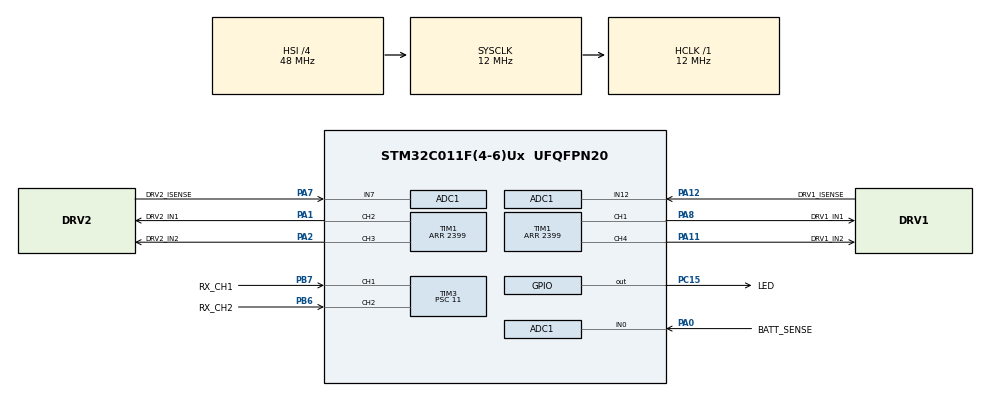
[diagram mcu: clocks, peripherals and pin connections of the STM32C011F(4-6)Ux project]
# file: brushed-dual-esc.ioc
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ADC1.ContinuousConvMode=ENABLE
ADC1.DMAContinuousRequests=ENABLE
ADC1.NbrOfConversionFlag=0
ADC1.Overrun=ADC_OVR_DATA_OVERWRITTEN
ADC1.SamplingTimeCommon1=ADC_SAMPLETIME_160CYCLES_5
ADC1.SelectedChannel=ADC_CHANNEL_0|ADC_CHANNEL_7|ADC_CHANNEL_12
ADC1.master=1
Dma.ADC1.0.Direction=DMA_PERIPH_TO_MEMORY
Dma.ADC1.0.EventEnable=DISABLE
Dma.ADC1.0.Instance=DMA1_Channel1
Dma.ADC1.0.MemDataAlignment=DMA_MDATAALIGN_WORD
Dma.ADC1.0.MemInc=DMA_MINC_ENABLE
Dma.ADC1.0.Mode=DMA_CIRCULAR
Dma.ADC1.0.PeriphDataAlignment=DMA_PDATAALIGN_WORD
Dma.ADC1.0.PeriphInc=DMA_PINC_DISABLE
Dma.ADC1.0.Polarity=HAL_DMAMUX_REQ_GEN_RISING
Dma.ADC1.0.Priority=DMA_PRIORITY_LOW
Dma.ADC1.0.RequestNumber=1
Dma.ADC1.0.SignalID=NONE
Dma.ADC1.0.SyncEnable=DISABLE
Dma.ADC1.0.SyncPolarity=HAL_DMAMUX_SYNC_NO_EVENT
Dma.ADC1.0.SyncRequestNumber=1
Dma.ADC1.0.SyncSignalID=NONE
Dma.Request0=ADC1
Mcu.Family=STM32C0
Mcu.Name=STM32C011F(4-6)Ux
Mcu.Package=UFQFPN20
NVIC.DMA1_Channel1_IRQn=true\:0\:0\:false\:false\:true\:false\:true\:true
NVIC.TIM3_IRQn=true\:0\:0\:false\:false\:true\:true\:true\:true
PA0.GPIO_Label=BATT_SENSE
PA0.GPIO_Mode=GPIO_MODE_ANALOG
PA0.GPIO_PuPd=GPIO_NOPULL
PA0.Mode=IN0
PA0.Signal=ADC1_IN0
PA1.GPIO_Label=DRV2_IN1
PA1.GPIO_PuPd=GPIO_PULLDOWN
PA1.Signal=S_TIM1_CH2
PA11\ [PA9].GPIO_Label=DRV1_IN2
PA11\ [PA9].GPIO_PuPd=GPIO_PULLDOWN
PA11\ [PA9].Signal=S_TIM1_CH4
PA12\ [PA10].GPIO_Label=DRV1_ISENSE
PA12\ [PA10].GPIO_Mode=GPIO_MODE_ANALOG
PA12\ [PA10].GPIO_PuPd=GPIO_NOPULL
PA12\ [PA10].Mode=IN12
PA12\ [PA10].Signal=ADC1_IN12
PA13.Mode=Serial_Wire
PA13.Signal=DEBUG_SWDIO
PA14-BOOT0.Mode=Serial_Wire
PA14-BOOT0.Signal=DEBUG_SWCLK
PA2.GPIO_Label=DRV2_IN2
PA2.GPIO_PuPd=GPIO_PULLDOWN
PA2.Signal=S_TIM1_CH3
PA7.GPIO_Label=DRV2_ISENSE
PA7.GPIO_Mode=GPIO_MODE_ANALOG
PA7.GPIO_PuPd=GPIO_NOPULL
PA7.Mode=IN7
PA7.Signal=ADC1_IN7
PA8.GPIO_Label=DRV1_IN1
PA8.GPIO_PuPd=GPIO_PULLDOWN
PA8.Signal=S_TIM1_CH1
PB6.GPIO_Label=RX_CH2
PB6.GPIO_PuPd=GPIO_PULLDOWN
PB6.Signal=S_TIM3_CH2
PB7.GPIO_Label=RX_CH1
PB7.GPIO_PuPd=GPIO_PULLDOWN
PB7.Signal=S_TIM3_CH1
PC15-OSCX_OUT\ (PC15).GPIO_Label=LED
PC15-OSCX_OUT\ (PC15).Signal=GPIO_Output
ProjectManager.HeapSize=0x200
ProjectManager.StackSize=0x400
ProjectManager.TargetToolchain=STM32CubeIDE
RCC.ADCFreq_Value=12000000
RCC.AHBFreq_Value=12000000
RCC.CortexFreq_Value=12000000
RCC.EXTERNAL_CLOCK_VALUE=12288000
RCC.HCLKFreq_Value=12000000
RCC.HSE_VALUE=8000000
RCC.HSI_VALUE=48000000
RCC.LSE_VALUE=32768
RCC.SYSCLKFreq_VALUE=12000000
SH.S_TIM1_CH1.0=TIM1_CH1,PWM Generation1 CH1
SH.S_TIM1_CH2.0=TIM1_CH2,PWM Generation2 CH2
SH.S_TIM1_CH3.0=TIM1_CH3,PWM Generation3 CH3
SH.S_TIM1_CH4.0=TIM1_CH4,PWM Generation4 CH4
SH.S_TIM3_CH1.0=TIM3_CH1,Input_Capture1_from_TI1
SH.S_TIM3_CH2.0=TIM3_CH2,Input_Capture2_from_TI2
TIM1.AutoReloadPreload=TIM_AUTORELOAD_PRELOAD_ENABLE
TIM1.Channel-PWM\ Generation1\ CH1=TIM_CHANNEL_1
TIM1.Channel-PWM\ Generation2\ CH2=TIM_CHANNEL_2
TIM1.Channel-PWM\ Generation3\ CH3=TIM_CHANNEL_3
TIM1.Channel-PWM\ Generation4\ CH4=TIM_CHANNEL_4
TIM1.Period=2399
TIM3.Channel-Input_Capture1_from_TI1=TIM_CHANNEL_1
TIM3.Channel-Input_Capture2_from_TI2=TIM_CHANNEL_2
TIM3.ICFilter_CH1=15
TIM3.ICFilter_CH2=15
TIM3.Prescaler=11
VP_TIM1_VS_ClockSourceINT.Mode=Internal
VP_TIM3_VS_ClockSourceINT.Mode=Internal
board=custom

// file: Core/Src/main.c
/* USER CODE BEGIN Header */
/**
  ******************************************************************************
  * @file           : main.c
  * @brief          : Main program body
  ******************************************************************************
  * @attention
  *
  * Copyright (c) 2026 STMicroelectronics.
  * All rights reserved.
  *
  * This software is licensed under terms that can be found in the LICENSE file
  * in the root directory of this software component.
  * If no LICENSE file comes with this software, it is provided AS-IS.
  *
  ******************************************************************************
  */
/* USER CODE END Header */
#include "main.h"

/* USER CODE BEGIN PD */
// Failsafe configuration
#define PULSE_TIMEOUT_MS 100 // 100 ms at 50 Hz is 5 missed pulses I think

// UVLO configuration
// Calculate this yourself:
// 1. Multiply min cell voltage by number of cells to get min battery voltage
// 		v_batt_min = v_cell_min * batt_s
// 2. Calculate voltage divider gain based on R1 and R2 in https://www.digikey.com/en/resources/conversion-calculators/conversion-calculator-voltage-divider
// 		divider_gain = r2 / (r1 + r2)
// 3. Calculate min divided voltage (input to ADC pin)
// 		v_divided_min = v_batt_min * divider_gain
// 4. Calculate min ADC counts (here we assume 12 bit ADC, so (2^12)-1=4095 max counts at VREF, which we assume is 3.3V)
// 		MIN_BATT_ADC = (v_divided_min / 3.3) * 4095
// 5. Round it to the nearest whole number and enter below
#define MIN_BATT_ADC 2597 // 3V/cell

// pulse limits; discard invalid pulses beyond this
// based on FS-2A 1000-2000us
#define PULSE_INVALID_MIN 800 // [us]
#define PULSE_INVALID_MAX 2200 // [us]
/* USER CODE END PD */

ADC_HandleTypeDef hadc1;
DMA_HandleTypeDef hdma_adc1;

TIM_HandleTypeDef htim1;
TIM_HandleTypeDef htim3;

/* USER CODE BEGIN PV */
// RX_CH1 = TIM3_CH1 -> DRV1
volatile uint32_t IC_Val1_CH1 = 0;
volatile uint32_t IC_Val2_CH1 = 0;
volatile uint32_t Pulse_Width_CH1 = 1500; // default to neutral
volatile uint8_t Is_First_Captured_CH1 = 0; // 0 = waiting for rising, 1 = waiting for falling
volatile uint32_t last_pulse_time_ch1 = 0; // For failsafe

// RX_CH2 = TIM3_CH2 -> DRV2
volatile uint32_t IC_Val1_CH2 = 0;
volatile uint32_t IC_Val2_CH2 = 0;
volatile uint32_t Pulse_Width_CH2 = 1500; // default to neutral
volatile uint8_t Is_First_Captured_CH2 = 0; // 0 = waiting for rising, 1 = waiting for falling
volatile uint32_t last_pulse_time_ch2 = 0; // For failsafe

volatile uint32_t now;
uint32_t pulse1, pulse2;
uint32_t last_seen1, last_seen2;
uint8_t error;
uint8_t batt_cutoff;
volatile uint32_t batt_sense = 69;
volatile uint32_t adc_buf[3]; // BATT_SENSE, DRV2_ISENSE, DRV1_ISENSE
/* USER CODE END PV */

void SystemClock_Config(void);
static void MX_GPIO_Init(void);
static void MX_DMA_Init(void);
static void MX_ADC1_Init(void);
static void MX_TIM1_Init(void);
static void MX_TIM3_Init(void);
/* USER CODE BEGIN PFP */
void set_motor_speed(uint32_t pulse, uint32_t tim_channel_in1, uint32_t tim_channel_in2);
/* USER CODE END PFP */

int main(void)
{

  /* MCU Configuration--------------------------------------------------------*/

  /* Reset of all peripherals, Initializes the Flash interface and the Systick. */
  HAL_Init();

  /* Configure the system clock */
  SystemClock_Config();

  /* Initialize all configured peripherals */
  MX_GPIO_Init();
  MX_DMA_Init();
  MX_ADC1_Init();
  MX_TIM1_Init();
  MX_TIM3_Init();
  /* USER CODE BEGIN 2 */

	HAL_GPIO_WritePin(LED_GPIO_Port, LED_Pin, 0); // indicate boot by flashing LED 1 on

	// start PWM outputs for DRV1
	HAL_TIM_PWM_Start(&htim1, TIM_CHANNEL_1);
	HAL_TIM_PWM_Start(&htim1, TIM_CHANNEL_4);

	// start PWM outputs for DRV2
	HAL_TIM_PWM_Start(&htim1, TIM_CHANNEL_2);
	HAL_TIM_PWM_Start(&htim1, TIM_CHANNEL_3);

	// set all drives to coast
	__HAL_TIM_SET_COMPARE(&htim1, TIM_CHANNEL_1, 0);
	__HAL_TIM_SET_COMPARE(&htim1, TIM_CHANNEL_2, 0);
	__HAL_TIM_SET_COMPARE(&htim1, TIM_CHANNEL_3, 0);
	__HAL_TIM_SET_COMPARE(&htim1, TIM_CHANNEL_4, 0);

	// start input capture interrupts for RX
	HAL_TIM_IC_Start_IT(&htim3, TIM_CHANNEL_1);
	HAL_TIM_IC_Start_IT(&htim3, TIM_CHANNEL_2);

	// start ADC in continuous DMA mode
	HAL_ADCEx_Calibration_Start(&hadc1);
	HAL_ADC_Start_DMA(&hadc1, (uint32_t*)adc_buf, 3);

	// init failsafe
	now = HAL_GetTick();
	last_pulse_time_ch1 = now;
	last_pulse_time_ch2 = now;
	error = 0;
	batt_cutoff = 0;

	// Turn off LED to indicate success
	HAL_GPIO_WritePin(LED_GPIO_Port, LED_Pin, 1); // turn off LED to indicate etup success

  /* USER CODE END 2 */

  /* Infinite loop */
  while (1)
  {

    /* USER CODE BEGIN 3 */
	now = HAL_GetTick();
	error = 0;

	// UVLO
	batt_sense = adc_buf[0];
	// drv2_isense = adc_buf[1];
	// drv1_isense = adc_buf[2];

	if (batt_sense < MIN_BATT_ADC) {
		batt_cutoff = 1;
		error = 1;
	} else {
		batt_cutoff = 0;
	}

	// Atomically get the latest pulse data from the ISR
	HAL_NVIC_DisableIRQ(TIM3_IRQn);
	pulse1 = Pulse_Width_CH1;
	last_seen1 = last_pulse_time_ch1;
	pulse2 = Pulse_Width_CH2;
	last_seen2 = last_pulse_time_ch2;
	HAL_NVIC_EnableIRQ(TIM3_IRQn);

	if (!batt_cutoff) { // if there is sufficient battery voltage
		if (now - last_seen1 > PULSE_TIMEOUT_MS) // if RX channel for motor 1 failsafed
		{
			// coast IN1=IN2=0
			__HAL_TIM_SET_COMPARE(&htim1, TIM_CHANNEL_1, 0);
			__HAL_TIM_SET_COMPARE(&htim1, TIM_CHANNEL_4, 0);

			error = 1;
		}
		else // motor 1 good
		{
			set_motor_speed(pulse1, TIM_CHANNEL_1, TIM_CHANNEL_4);
		}

		if (now - last_seen2 > PULSE_TIMEOUT_MS) // if RX channel for motor 2 failsafed
		{
			// coast IN1=IN2=0
			__HAL_TIM_SET_COMPARE(&htim1, TIM_CHANNEL_2, 0);
			__HAL_TIM_SET_COMPARE(&htim1, TIM_CHANNEL_3, 0);

			error = 1;
		}
		else // motor 2 good
		{
			set_motor_speed(pulse2, TIM_CHANNEL_2, TIM_CHANNEL_3);
		}
	}

	// write error state to LED each time
	HAL_GPIO_WritePin(LED_GPIO_Port, LED_Pin, !error);
  }
  /* USER CODE END 3 */
}

void SystemClock_Config(void)
{
  RCC_OscInitTypeDef RCC_OscInitStruct = {0};
  RCC_ClkInitTypeDef RCC_ClkInitStruct = {0};

  __HAL_FLASH_SET_LATENCY(FLASH_LATENCY_0);

  /** Initializes the RCC Oscillators according to the specified parameters
  * in the RCC_OscInitTypeDef structure.
  */
  RCC_OscInitStruct.OscillatorType = RCC_OSCILLATORTYPE_HSI;
  RCC_OscInitStruct.HSIState = RCC_HSI_ON;
  RCC_OscInitStruct.HSIDiv = RCC_HSI_DIV4;
  RCC_OscInitStruct.HSICalibrationValue = RCC_HSICALIBRATION_DEFAULT;
  if (HAL_RCC_OscConfig(&RCC_OscInitStruct) != HAL_OK)
  {
    Error_Handler();
  }

  /** Initializes the CPU, AHB and APB buses clocks
  */
  RCC_ClkInitStruct.ClockType = RCC_CLOCKTYPE_HCLK|RCC_CLOCKTYPE_SYSCLK
                              |RCC_CLOCKTYPE_PCLK1;
  RCC_ClkInitStruct.SYSCLKSource = RCC_SYSCLKSOURCE_HSI;
  RCC_ClkInitStruct.SYSCLKDivider = RCC_SYSCLK_DIV1;
  RCC_ClkInitStruct.AHBCLKDivider = RCC_HCLK_DIV1;
  RCC_ClkInitStruct.APB1CLKDivider = RCC_APB1_DIV1;

  if (HAL_RCC_ClockConfig(&RCC_ClkInitStruct, FLASH_LATENCY_0) != HAL_OK)
  {
    Error_Handler();
  }
}

static void MX_ADC1_Init(void)
{

  ADC_ChannelConfTypeDef sConfig = {0};

  /** Configure the global features of the ADC (Clock, Resolution, Data Alignment and number of conversion)
  */
  hadc1.Instance = ADC1;
  hadc1.Init.ClockPrescaler = ADC_CLOCK_SYNC_PCLK_DIV1;
  hadc1.Init.Resolution = ADC_RESOLUTION_12B;
  hadc1.Init.DataAlign = ADC_DATAALIGN_RIGHT;
  hadc1.Init.ScanConvMode = ADC_SCAN_SEQ_FIXED;
  hadc1.Init.EOCSelection = ADC_EOC_SINGLE_CONV;
  hadc1.Init.LowPowerAutoWait = DISABLE;
  hadc1.Init.LowPowerAutoPowerOff = DISABLE;
  hadc1.Init.ContinuousConvMode = ENABLE;
  hadc1.Init.NbrOfConversion = 1;
  hadc1.Init.ExternalTrigConv = ADC_SOFTWARE_START;
  hadc1.Init.ExternalTrigConvEdge = ADC_EXTERNALTRIGCONVEDGE_NONE;
  hadc1.Init.DMAContinuousRequests = ENABLE;
  hadc1.Init.Overrun = ADC_OVR_DATA_OVERWRITTEN;
  hadc1.Init.SamplingTimeCommon1 = ADC_SAMPLETIME_160CYCLES_5;
  hadc1.Init.OversamplingMode = DISABLE;
  hadc1.Init.TriggerFrequencyMode = ADC_TRIGGER_FREQ_HIGH;
  if (HAL_ADC_Init(&hadc1) != HAL_OK)
  {
    Error_Handler();
  }

  /** Configure Regular Channel
  */
  sConfig.Channel = ADC_CHANNEL_0;
  sConfig.Rank = ADC_RANK_CHANNEL_NUMBER;
  if (HAL_ADC_ConfigChannel(&hadc1, &sConfig) != HAL_OK)
  {
    Error_Handler();
  }

  /** Configure Regular Channel
  */
  sConfig.Channel = ADC_CHANNEL_7;
  if (HAL_ADC_ConfigChannel(&hadc1, &sConfig) != HAL_OK)
  {
    Error_Handler();
  }

  /** Configure Regular Channel
  */
  sConfig.Channel = ADC_CHANNEL_12;
  if (HAL_ADC_ConfigChannel(&hadc1, &sConfig) != HAL_OK)
  {
    Error_Handler();
  }

}

static void MX_TIM1_Init(void)
{

  TIM_ClockConfigTypeDef sClockSourceConfig = {0};
  TIM_MasterConfigTypeDef sMasterConfig = {0};
  TIM_OC_InitTypeDef sConfigOC = {0};
  TIM_BreakDeadTimeConfigTypeDef sBreakDeadTimeConfig = {0};

  htim1.Instance = TIM1;
  htim1.Init.Prescaler = 0;
  htim1.Init.CounterMode = TIM_COUNTERMODE_UP;
  htim1.Init.Period = 2399;
  htim1.Init.ClockDivision = TIM_CLOCKDIVISION_DIV1;
  htim1.Init.RepetitionCounter = 0;
  htim1.Init.AutoReloadPreload = TIM_AUTORELOAD_PRELOAD_ENABLE;
  if (HAL_TIM_Base_Init(&htim1) != HAL_OK)
  {
    Error_Handler();
  }
  sClockSourceConfig.ClockSource = TIM_CLOCKSOURCE_INTERNAL;
  if (HAL_TIM_ConfigClockSource(&htim1, &sClockSourceConfig) != HAL_OK)
  {
    Error_Handler();
  }
  if (HAL_TIM_PWM_Init(&htim1) != HAL_OK)
  {
    Error_Handler();
  }
  sMasterConfig.MasterOutputTrigger = TIM_TRGO_RESET;
  sMasterConfig.MasterOutputTrigger2 = TIM_TRGO2_RESET;
  sMasterConfig.MasterSlaveMode = TIM_MASTERSLAVEMODE_DISABLE;
  if (HAL_TIMEx_MasterConfigSynchronization(&htim1, &sMasterConfig) != HAL_OK)
  {
    Error_Handler();
  }
  sConfigOC.OCMode = TIM_OCMODE_PWM1;
  sConfigOC.Pulse = 0;
  sConfigOC.OCPolarity = TIM_OCPOLARITY_HIGH;
  sConfigOC.OCNPolarity = TIM_OCNPOLARITY_HIGH;
  sConfigOC.OCFastMode = TIM_OCFAST_DISABLE;
  sConfigOC.OCIdleState = TIM_OCIDLESTATE_RESET;
  sConfigOC.OCNIdleState = TIM_OCNIDLESTATE_RESET;
  if (HAL_TIM_PWM_ConfigChannel(&htim1, &sConfigOC, TIM_CHANNEL_1) != HAL_OK)
  {
    Error_Handler();
  }
  if (HAL_TIM_PWM_ConfigChannel(&htim1, &sConfigOC, TIM_CHANNEL_2) != HAL_OK)
  {
    Error_Handler();
  }
  if (HAL_TIM_PWM_ConfigChannel(&htim1, &sConfigOC, TIM_CHANNEL_3) != HAL_OK)
  {
    Error_Handler();
  }
  if (HAL_TIM_PWM_ConfigChannel(&htim1, &sConfigOC, TIM_CHANNEL_4) != HAL_OK)
  {
    Error_Handler();
  }
  sBreakDeadTimeConfig.OffStateRunMode = TIM_OSSR_DISABLE;
  sBreakDeadTimeConfig.OffStateIDLEMode = TIM_OSSI_DISABLE;
  sBreakDeadTimeConfig.LockLevel = TIM_LOCKLEVEL_OFF;
  sBreakDeadTimeConfig.DeadTime = 0;
  sBreakDeadTimeConfig.BreakState = TIM_BREAK_DISABLE;
  sBreakDeadTimeConfig.BreakPolarity = TIM_BREAKPOLARITY_HIGH;
  sBreakDeadTimeConfig.BreakFilter = 0;
  sBreakDeadTimeConfig.BreakAFMode = TIM_BREAK_AFMODE_INPUT;
  sBreakDeadTimeConfig.Break2State = TIM_BREAK2_DISABLE;
  sBreakDeadTimeConfig.Break2Polarity = TIM_BREAK2POLARITY_HIGH;
  sBreakDeadTimeConfig.Break2Filter = 0;
  sBreakDeadTimeConfig.Break2AFMode = TIM_BREAK_AFMODE_INPUT;
  sBreakDeadTimeConfig.AutomaticOutput = TIM_AUTOMATICOUTPUT_DISABLE;
  if (HAL_TIMEx_ConfigBreakDeadTime(&htim1, &sBreakDeadTimeConfig) != HAL_OK)
  {
    Error_Handler();
  }
  HAL_TIM_MspPostInit(&htim1);

}

static void MX_TIM3_Init(void)
{

  TIM_ClockConfigTypeDef sClockSourceConfig = {0};
  TIM_MasterConfigTypeDef sMasterConfig = {0};
  TIM_IC_InitTypeDef sConfigIC = {0};

  htim3.Instance = TIM3;
  htim3.Init.Prescaler = 11;
  htim3.Init.CounterMode = TIM_COUNTERMODE_UP;
  htim3.Init.Period = 65535;
  htim3.Init.ClockDivision = TIM_CLOCKDIVISION_DIV1;
  htim3.Init.AutoReloadPreload = TIM_AUTORELOAD_PRELOAD_DISABLE;
  if (HAL_TIM_Base_Init(&htim3) != HAL_OK)
  {
    Error_Handler();
  }
  sClockSourceConfig.ClockSource = TIM_CLOCKSOURCE_INTERNAL;
  if (HAL_TIM_ConfigClockSource(&htim3, &sClockSourceConfig) != HAL_OK)
  {
    Error_Handler();
  }
  if (HAL_TIM_IC_Init(&htim3) != HAL_OK)
  {
    Error_Handler();
  }
  sMasterConfig.MasterOutputTrigger = TIM_TRGO_RESET;
  sMasterConfig.MasterSlaveMode = TIM_MASTERSLAVEMODE_DISABLE;
  if (HAL_TIMEx_MasterConfigSynchronization(&htim3, &sMasterConfig) != HAL_OK)
  {
    Error_Handler();
  }
  sConfigIC.ICPolarity = TIM_INPUTCHANNELPOLARITY_RISING;
  sConfigIC.ICSelection = TIM_ICSELECTION_DIRECTTI;
  sConfigIC.ICPrescaler = TIM_ICPSC_DIV1;
  sConfigIC.ICFilter = 15;
  if (HAL_TIM_IC_ConfigChannel(&htim3, &sConfigIC, TIM_CHANNEL_1) != HAL_OK)
  {
    Error_Handler();
  }
  if (HAL_TIM_IC_ConfigChannel(&htim3, &sConfigIC, TIM_CHANNEL_2) != HAL_OK)
  {
    Error_Handler();
  }

}

static void MX_DMA_Init(void)
{

  /* DMA controller clock enable */
  __HAL_RCC_DMA1_CLK_ENABLE();

  /* DMA interrupt init */
  /* DMA1_Channel1_IRQn interrupt configuration */
  HAL_NVIC_SetPriority(DMA1_Channel1_IRQn, 0, 0);
  HAL_NVIC_EnableIRQ(DMA1_Channel1_IRQn);

}

static void MX_GPIO_Init(void)
{
  GPIO_InitTypeDef GPIO_InitStruct = {0};

  /* GPIO Ports Clock Enable */
  __HAL_RCC_GPIOC_CLK_ENABLE();
  __HAL_RCC_GPIOA_CLK_ENABLE();
  __HAL_RCC_GPIOB_CLK_ENABLE();

  /*Configure GPIO pin Output Level */
  HAL_GPIO_WritePin(LED_GPIO_Port, LED_Pin, GPIO_PIN_RESET);

  /*Configure GPIO pin : LED_Pin */
  GPIO_InitStruct.Pin = LED_Pin;
  GPIO_InitStruct.Mode = GPIO_MODE_OUTPUT_PP;
  GPIO_InitStruct.Pull = GPIO_NOPULL;
  GPIO_InitStruct.Speed = GPIO_SPEED_FREQ_LOW;
  HAL_GPIO_Init(LED_GPIO_Port, &GPIO_InitStruct);

}

/* USER CODE BEGIN 4 */
/**
  * @brief  Converts a 1000-2000us pulse to motor driver PWM outputs
  * @param  pulse: The measured pulse width in microseconds (1000-2000)
  * @param  tim_channel_in1: The TIM1 channel for the driver's IN1 pin
  * @param  tim_channel_in2: The TIM1 channel for the driver's IN2 pin
  * @retval None
  */
void set_motor_speed(uint32_t pulse, uint32_t tim_channel_in1, uint32_t tim_channel_in2)
{
    uint32_t duty = 0;
    const uint32_t MAX_DUTY = 2399; // from htim1.Init.Period
    // deadzone
    const uint32_t NEUTRAL_LOW = 1450;
    const uint32_t NEUTRAL_HIGH = 1550;
    const uint32_t MIN_PULSE = 1000;
    const uint32_t MAX_PULSE = 2000;

    if (pulse < PULSE_INVALID_MIN || pulse > PULSE_INVALID_MAX) // pulse out of range so default to neutral
    {
    	pulse = 1500;
    	error = 1;
    }

    // Channel neutral coast
    // (DRV8231A Table 8-2: IN1=0, IN2=0 -> Coast)
//    if (pulse > NEUTRAL_LOW && pulse < NEUTRAL_HIGH)
//    {
//        __HAL_TIM_SET_COMPARE(&htim1, tim_channel_in1, 0);
//        __HAL_TIM_SET_COMPARE(&htim1, tim_channel_in2, 0);
//    }

    // Channel neutral brake
    // (DRV8231A Table 8-2: IN1=0, IN2=0 -> Coast)
    if (pulse > NEUTRAL_LOW && pulse < NEUTRAL_HIGH)
    {
        __HAL_TIM_SET_COMPARE(&htim1, tim_channel_in1, MAX_DUTY);
        __HAL_TIM_SET_COMPARE(&htim1, tim_channel_in2, MAX_DUTY);
    }

    // Channel forward
    // (DRV8231A Table 8-2: IN1=PWM, IN2=0 -> Forward)
    else if (pulse >= NEUTRAL_HIGH)
    {
        if(pulse > MAX_PULSE) pulse = MAX_PULSE;

        // Map [1550...2000] to [0...599]
        duty = (pulse - NEUTRAL_HIGH) * MAX_DUTY / (MAX_PULSE - NEUTRAL_HIGH);
        if (duty > MAX_DUTY) duty = MAX_DUTY;

        __HAL_TIM_SET_COMPARE(&htim1, tim_channel_in1, duty); // IN1 = PWM
        __HAL_TIM_SET_COMPARE(&htim1, tim_channel_in2, 0);    // IN2 = 0
    }

    // Channel reverse
    // (DRV8231A Table 8-2: IN1=0, IN2=PWM -> Reverse)
    else if (pulse <= NEUTRAL_LOW)
    {
        if(pulse < MIN_PULSE) pulse = MIN_PULSE;

        // Map [1450...1000] to [0...599]
        duty = (NEUTRAL_LOW - pulse) * MAX_DUTY / (NEUTRAL_LOW - MIN_PULSE);
        if (duty > MAX_DUTY) duty = MAX_DUTY;

        __HAL_TIM_SET_COMPARE(&htim1, tim_channel_in1, 0);    // IN1 = 0
        __HAL_TIM_SET_COMPARE(&htim1, tim_channel_in2, duty); // IN2 = PWM
    }
}

/**
  * @brief  Input Capture callback in non-blocking mode
  * @param  htim: TIM handle
  * @retval None
  */
void HAL_TIM_IC_CaptureCallback(TIM_HandleTypeDef *htim)
{
    if (htim->Instance == TIM3) // TIM3 used for RX channel input capture
    {
        if (htim->Channel == HAL_TIM_ACTIVE_CHANNEL_1) // RX_CH1, TIM3_CH1, will eventually map to DRV1
        {
            if (Is_First_Captured_CH1 == 0) // first edge (rising)
            {
                IC_Val1_CH1 = HAL_TIM_ReadCapturedValue(htim, TIM_CHANNEL_1);
                Is_First_Captured_CH1 = 1; // mark that we captured rising edge
                __HAL_TIM_SET_CAPTUREPOLARITY(htim, TIM_CHANNEL_1, TIM_INPUTCHANNELPOLARITY_FALLING); // capture falling edge next
            }
            else // on second edge (falling)
            {
                IC_Val2_CH1 = HAL_TIM_ReadCapturedValue(htim, TIM_CHANNEL_1);
                // --- FIX: Use a unique variable name ---
                uint32_t new_pulse_width_ch1 = 0;

                if (IC_Val2_CH1 > IC_Val1_CH1)
                {
                    new_pulse_width_ch1 = IC_Val2_CH1 - IC_Val1_CH1;
                }
                else if (IC_Val1_CH1 > IC_Val2_CH1) // Timer overflow
                {
                    new_pulse_width_ch1 = (0xFFFF - IC_Val1_CH1) + IC_Val2_CH1 + 1;
                }

                // --- Validate and save for CH1 ---
                // Discard any junk pulses outside the valid 800-2200us range
                if (new_pulse_width_ch1 > PULSE_INVALID_MIN && new_pulse_width_ch1 < PULSE_INVALID_MAX)
                {
                    Pulse_Width_CH1 = new_pulse_width_ch1; // Write to CH1's variable
                    last_pulse_time_ch1 = HAL_GetTick();   // Write to CH1's timestamp
                }

                Is_First_Captured_CH1 = 0;
                // Change polarity back to rising edge
                __HAL_TIM_SET_CAPTUREPOLARITY(htim, TIM_CHANNEL_1, TIM_INPUTCHANNELPOLARITY_RISING);
            }
        }

        if (htim->Channel == HAL_TIM_ACTIVE_CHANNEL_2) // RX_CH2, TIM3_CH2 will eventually map to DRV2
        {
            if (Is_First_Captured_CH2 == 0) // First edge (Rising)
            {
                IC_Val1_CH2 = HAL_TIM_ReadCapturedValue(htim, TIM_CHANNEL_2);
                Is_First_Captured_CH2 = 1;
                // Change polarity to falling edge
                __HAL_TIM_SET_CAPTUREPOLARITY(htim, TIM_CHANNEL_2, TIM_INPUTCHANNELPOLARITY_FALLING);
            }
            else  // Second edge (Falling)
            {
                IC_Val2_CH2 = HAL_TIM_ReadCapturedValue(htim, TIM_CHANNEL_2);
                // --- FIX: Use a unique variable name ---
                uint32_t new_pulse_width_ch2 = 0;

                if (IC_Val2_CH2 > IC_Val1_CH2)
                {
                    new_pulse_width_ch2 = IC_Val2_CH2 - IC_Val1_CH2;
                }
                else if (IC_Val1_CH2 > IC_Val2_CH2) // Timer overflow
                {
                    new_pulse_width_ch2 = (0xFFFF - IC_Val1_CH2) + IC_Val2_CH2 + 1;
                }

                // --- Validate and save for CH2 ---
                // Discard any junk pulses outside the valid 800-2200us range
                if (new_pulse_width_ch2 > PULSE_INVALID_MIN && new_pulse_width_ch2 < PULSE_INVALID_MAX)
                {
                    Pulse_Width_CH2 = new_pulse_width_ch2; // Write to CH2's variable
                    last_pulse_time_ch2 = HAL_GetTick();   // Write to CH2's timestamp
                }

                Is_First_Captured_CH2 = 0;
                // Change polarity back to rising edge
                __HAL_TIM_SET_CAPTUREPOLARITY(htim, TIM_CHANNEL_2, TIM_INPUTCHANNELPOLARITY_RISING);
            }
        }
    }
}
/* USER CODE END 4 */

void Error_Handler(void)
{
  __disable_irq();
  while (1)
  {
  }
}
